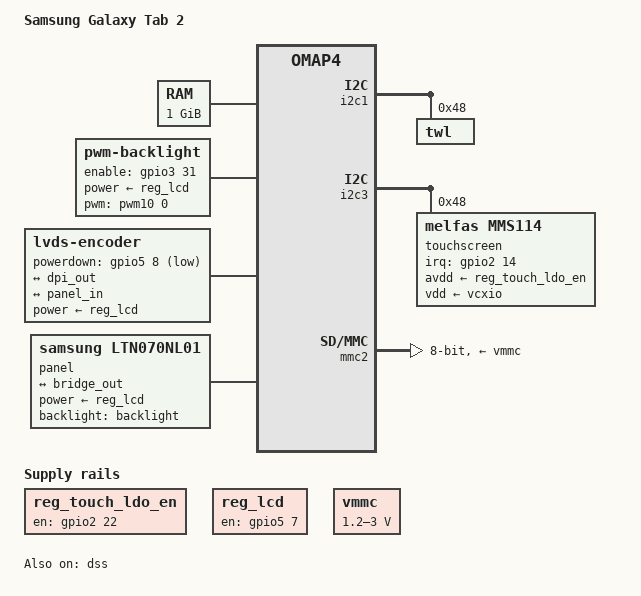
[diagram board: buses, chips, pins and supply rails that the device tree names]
/dts-v1/;
#include "gpio.h"
#include "omap443x.dtsi"

/ {
	model = "Samsung Galaxy Tab 2";
	compatible = "samsung,espresso10", "ti,omap4430", "ti,omap4";
	
	memory@80000000 {
		device_type = "memory";
		reg = <0x80000000 0x40000000>; /* 1 GB */
	};
	
	
	reserved-memory {
		#address-cells = <1>;
		#size-cells = <1>;
		ranges;
		
		ramoops_region@A0000000 {
			no-map;
			
			reg = <0xA0000000 0x200000>;
			
		};
		
		continuous_splash: framebuffer@bef00000{ //The framebuffer address is specific to your device!
			reg = <0xbef00000 (1024 * 600 * 4)>;
			no-map;
		};
	};
	
	chosen {
		#address-cells = <1>;
		#size-cells = <1>;
		ranges;
	};
		
	reg_touch_ldo_en: regulator-touch-ldo-en  {
		compatible = "regulator-fixed";
		regulator-name = "touch_ldo_en";
		gpios = <&gpio2 22 GPIO_ACTIVE_HIGH>;
		regulator-always-on;
		enable-active-high;
	};
	
	reg_lcd: regulator-lcd  {
		compatible = "regulator-fixed";
		regulator-name = "lcd_en";
		gpios = <&gpio5 7 GPIO_ACTIVE_HIGH>;
		enable-active-high;
		//regulator-always-on;
		regulator-boot-on;
	};
	
	pwm10: dmtimer-pwm-10 {
		pinctrl-names = "default";
		pinctrl-0 = <&pwm10_default>;
	
		compatible = "ti,omap-dmtimer-pwm";
		#pwm-cells = <3>;
		ti,timers = <&timer10>;
		ti,clock-source = <0x01>;
	};
	
	backlight: backlight {
		compatible = "pwm-backlight";
		pinctrl-names = "default";
		pinctrl-0 = <&backlight_pins>;
		pwms = <&pwm10 0 5000000 0>; 
		power-supply = <&reg_lcd>;
		enable-gpios = <&gpio3 31 0>;
		brightness-levels = <0 4 8 16 32 64 128 255>;
		default-brightness-level = <7>;
	};
	
	lvds-encoder {
		compatible = "lvds-encoder", "doestek,dtc34lm85am";
		powerdown-gpios = <&gpio5 8 GPIO_ACTIVE_LOW>;
		power-supply = <&reg_lcd>;
		ports {
				
			#address-cells = <1>;
			#size-cells = <0>;
			
			port@0 {
				reg = <0>;
				bridge_in: endpoint {
					remote-endpoint = <&dpi_out>;
				};
			};
			
			port@1 {
				reg = <1>;
				bridge_out: endpoint {
					remote-endpoint = <&panel_in>;
				};
			};
			
		};
	};
	
	panel {
		compatible ="samsung,ltn070nl01", "panel-lvds";
		power-supply = <&reg_lcd>;
		width-mm = <154>;
		height-mm = <90>;
		data-mapping = "jeida-24";
		backlight = <&backlight>;
		panel-timing {
			clock-frequency = <56888889>;
			
			hback-porch = <210>;
			hactive = <1024>;
			hfront-porch = <186>;
			hsync-len = <50>;
			
			vback-porch = <11>;
			vactive = <600>;
			vfront-porch = <24>;
			vsync-len = <10>;
						
			hsync-active = <0>;
			vsync-active = <0>;
			de-active = <1>;
			pixelclk-active = <1>;
		};
		
		port {
			panel_in: endpoint {
				remote-endpoint = <&bridge_out>;
			};
		};
	};
};
&omap4_pmx_core {
	pwm10_default: pinmux_pwm10_default {
		pinctrl-single,pins = <
		OMAP4_IOPAD(0X0D6, PIN_OUTPUT | PIN_OFF_OUTPUT_LOW | MUX_MODE1)
		>;
	};
	
	backlight_pins: pinmux_backlight_pins {
		pinctrl-single,pins = <
		OMAP4_IOPAD(0X0D8, PIN_OUTPUT | PIN_OFF_OUTPUT_LOW | MUX_MODE3)	
		>;
	};
	
	i2c1_pins: pinmux_i2c1_pins {
		pinctrl-single,pins = <
		OMAP4_IOPAD(0x122, PIN_INPUT_PULLUP | MUX_MODE0)	/* i2c1_scl */
		OMAP4_IOPAD(0x124, PIN_INPUT_PULLUP | MUX_MODE0)	/* i2c1_sda */
		>;
	};
	
	i2c2_pins: pinmux_i2c2_pins {
		pinctrl-single,pins = <
		OMAP4_IOPAD(0x126, PIN_INPUT_PULLUP | MUX_MODE0)	/* i2c2_scl */
		OMAP4_IOPAD(0x128, PIN_INPUT_PULLUP | MUX_MODE0)	/* i2c2_sda */
		>;
	};
	
	i2c3_pins: pinmux_i2c3_pins {
		pinctrl-single,pins = <
		OMAP4_IOPAD(0x12a, PIN_INPUT_PULLUP | MUX_MODE0)	/* i2c3_scl */
		OMAP4_IOPAD(0x12c, PIN_INPUT_PULLUP | MUX_MODE0)	/* i2c3_sda */
		>;
	};
	
	i2c4_pins: pinmux_i2c4_pins {
		pinctrl-single,pins = <
		OMAP4_IOPAD(0x12e, PIN_INPUT_PULLUP | MUX_MODE0)	/* i2c4_scl */
		OMAP4_IOPAD(0x130, PIN_INPUT_PULLUP | MUX_MODE0)	/* i2c4_sda */
		>;
	};
	
	mmc2_pins: pinmux_mmc2_pins {
		pinctrl-single,pins = <
		OMAP4_IOPAD(0x040, PIN_INPUT_PULLUP | MUX_MODE1)	/* sdmmc2_dat0 */
		OMAP4_IOPAD(0x042, PIN_INPUT_PULLUP | MUX_MODE1)	/* sdmmc2_dat1 */
		OMAP4_IOPAD(0x044, PIN_INPUT_PULLUP | MUX_MODE1)	/* sdmmc2_dat2 */
		OMAP4_IOPAD(0x046, PIN_INPUT_PULLUP | MUX_MODE1)	/* sdmmc2_dat3 */
		OMAP4_IOPAD(0x048, PIN_INPUT_PULLUP | MUX_MODE1)	/* sdmmc2_dat4 */
		OMAP4_IOPAD(0x04a, PIN_INPUT_PULLUP | MUX_MODE1)	/* sdmmc2_dat5 */
		OMAP4_IOPAD(0x04c, PIN_INPUT_PULLUP | MUX_MODE1)	/* sdmmc2_dat6 */
		OMAP4_IOPAD(0x04e, PIN_INPUT_PULLUP | MUX_MODE1)	/* sdmmc2_dat7 */
		OMAP4_IOPAD(0x082, PIN_INPUT_PULLUP | MUX_MODE1)	/* sdmmc2_clk */
		OMAP4_IOPAD(0x084, PIN_INPUT_PULLUP | MUX_MODE1)	/* sdmmc2_cmd */
		>;
	};
	
	dss_dpi_pins: pinmux_dss_dpi_pins {
		pinctrl-single,pins = <
		OMAP4_IOPAD(0x162, PIN_OFF_OUTPUT_LOW | MUX_MODE5)	/* dispc2_data23 */
		OMAP4_IOPAD(0x164, PIN_OFF_OUTPUT_LOW | MUX_MODE5) 	/* dispc2_data22 */
		OMAP4_IOPAD(0x166, PIN_OFF_OUTPUT_LOW | MUX_MODE5)	/* dispc2_data21 */
		OMAP4_IOPAD(0x168, PIN_OFF_OUTPUT_LOW | MUX_MODE5)	/* dispc2_data20 */
		OMAP4_IOPAD(0x16a, PIN_OFF_OUTPUT_LOW | MUX_MODE5)	/* dispc2_data19 */
		OMAP4_IOPAD(0x16c, PIN_OFF_OUTPUT_LOW | MUX_MODE5)	/* dispc2_data18 */
		OMAP4_IOPAD(0x16e, PIN_OFF_OUTPUT_LOW | MUX_MODE5)	/* dispc2_data15 */
		OMAP4_IOPAD(0x170, PIN_OFF_OUTPUT_LOW | MUX_MODE5)	/* dispc2_data14 */
		OMAP4_IOPAD(0x172, PIN_OFF_OUTPUT_LOW | MUX_MODE5)	/* dispc2_data13 */
		OMAP4_IOPAD(0x174, PIN_OFF_OUTPUT_LOW | MUX_MODE5)	/* dispc2_data12 */
		OMAP4_IOPAD(0x176, PIN_OFF_OUTPUT_LOW | MUX_MODE5)	/* dispc2_data11 */
		
		OMAP4_IOPAD(0x1b4, PIN_OFF_OUTPUT_LOW | MUX_MODE5)	/* dispc2_data10 */
		OMAP4_IOPAD(0x1b6, PIN_OFF_OUTPUT_LOW | MUX_MODE5)	/* dispc2_data9 */
		OMAP4_IOPAD(0x1b8, PIN_OFF_OUTPUT_LOW | MUX_MODE5)	/* dispc2_data16 */
		OMAP4_IOPAD(0x1ba, PIN_OFF_OUTPUT_LOW | MUX_MODE5)	/* dispc2_data17 */
		OMAP4_IOPAD(0x1bc, PIN_OFF_OUTPUT_LOW | MUX_MODE5)	/* dispc2_hsync */
		OMAP4_IOPAD(0x1be, PIN_OFF_OUTPUT_LOW | MUX_MODE5)	/* dispc2_pclk */
		OMAP4_IOPAD(0x1c0, PIN_OFF_OUTPUT_LOW | MUX_MODE5)	/* dispc2_vsync */
		OMAP4_IOPAD(0x1c2, PIN_OFF_OUTPUT_LOW | MUX_MODE5)	/* dispc2_de */
		OMAP4_IOPAD(0x1c4, PIN_OFF_OUTPUT_LOW | MUX_MODE5)	/* dispc2_data8 */
		OMAP4_IOPAD(0x1c6, PIN_OFF_OUTPUT_LOW | MUX_MODE5)	/* dispc2_data7 */
		OMAP4_IOPAD(0x1c8, PIN_OFF_OUTPUT_LOW | MUX_MODE5)	/* dispc2_data6 */
		OMAP4_IOPAD(0x1ca, PIN_OFF_OUTPUT_LOW | MUX_MODE5)	/* dispc2_data5 */
		OMAP4_IOPAD(0x1cc, PIN_OFF_OUTPUT_LOW | MUX_MODE5)	/* dispc2_data4 */
		OMAP4_IOPAD(0x1ce, PIN_OFF_OUTPUT_LOW | MUX_MODE5)	/* dispc2_data3 */
		
		OMAP4_IOPAD(0x1d0, PIN_OFF_OUTPUT_LOW | MUX_MODE5)	/* dispc2_data2 */
		OMAP4_IOPAD(0x1d2, PIN_OFF_OUTPUT_LOW | MUX_MODE5)	/* dispc2_data1 */
		OMAP4_IOPAD(0x1d4, PIN_OFF_OUTPUT_LOW | MUX_MODE5)	/* dispc2_data0 */
		>;
	};
};

&i2c1 {
	pinctrl-names = "default";
	pinctrl-0 = <&i2c1_pins>;
	
	twl: twl@48 {
		reg = <0x48>;
		interrupts = <GIC_SPI 7 IRQ_TYPE_LEVEL_HIGH>;		/* IRQ_SYS_1N cascaded to gic */
	};
	
};

&i2c2 {
	pinctrl-names = "default";
	pinctrl-0 = <&i2c2_pins>;
};

&i2c3 {
	pinctrl-names = "default";
	pinctrl-0 = <&i2c3_pins>;
	
	touchscreen@48 {
		compatible = "melfas,mms114";
		reg = <0x48>;
		interrupt-parent = <&gpio2>;
		interrupts = <14 IRQ_TYPE_EDGE_FALLING>;
		touchscreen-size-x = <1024>;
		touchscreen-size-y = <600>;	
		avdd-supply = <&reg_touch_ldo_en>;
		vdd-supply = <&vcxio>;
	};
};

&i2c4 {
	pinctrl-names = "default";
	pinctrl-0 = <&i2c4_pins>;
};

&dss {
	status = "okay";
	
	pinctrl-names = "default";
	pinctrl-0 = <&dss_dpi_pins>;

	port {
		dpi_out: endpoint {
			remote-endpoint = <&bridge_in>;
			data-lines = <24>;
		};
	};
};

#include "twl6030.dtsi"
#include "twl6030_omap4.dtsi"

&vmmc {
	/* https://github.com/LineageOS/android_kernel_samsung_espresso10/blob/67333f2574cd95b40c73a4809aea55d7e889b570/arch/arm/mach-omap2/board-espresso-pmic.c#L199 */
	regulator-min-microvolt = <1200000>;
	regulator-max-microvolt = <3000000>;
};

&twl_usb_comparator {
	usb-supply = <&vusb>;
};

&usb_otg_hs {
	interface-type = <1>;
	mode = <3>;
	power = <50>;
};

&mmc1 {
	status="disabled";
};


&mmc2 {
	pinctrl-names = "default";
	pinctrl-0 = <&mmc2_pins>;
	
	vmmc-supply = <&vmmc>;
	ti,non-removable;
	bus-width = <8>;
};

&mmc3 {
	status = "disabled";
};

&mmc4 {
	status = "disabled";
};

&mmc5 {
	status = "disabled";
};
